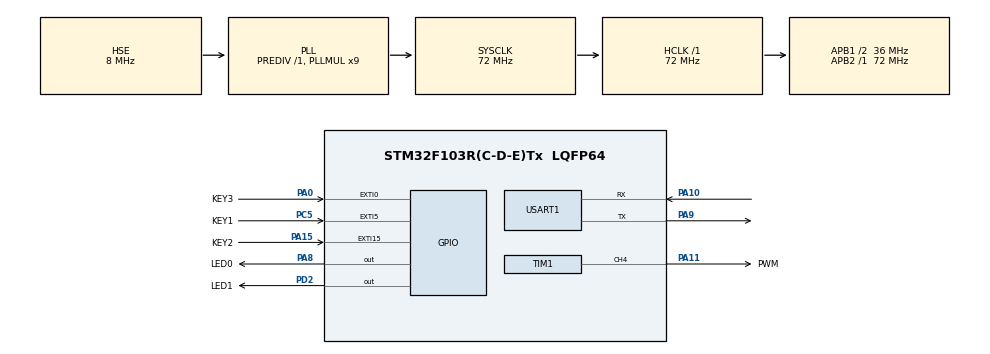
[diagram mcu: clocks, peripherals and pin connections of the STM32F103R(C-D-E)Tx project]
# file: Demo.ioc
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Dma.Request0=USART1_RX
Dma.USART1_RX.0.Direction=DMA_PERIPH_TO_MEMORY
Dma.USART1_RX.0.Instance=DMA1_Channel5
Dma.USART1_RX.0.MemDataAlignment=DMA_MDATAALIGN_BYTE
Dma.USART1_RX.0.MemInc=DMA_MINC_ENABLE
Dma.USART1_RX.0.Mode=DMA_CIRCULAR
Dma.USART1_RX.0.PeriphDataAlignment=DMA_PDATAALIGN_BYTE
Dma.USART1_RX.0.PeriphInc=DMA_PINC_DISABLE
Dma.USART1_RX.0.Priority=DMA_PRIORITY_LOW
Mcu.Family=STM32F1
Mcu.Name=STM32F103R(C-D-E)Tx
Mcu.Package=LQFP64
NVIC.DMA1_Channel5_IRQn=true\:0\:0\:false\:false\:true\:false\:true
NVIC.EXTI0_IRQn=true\:1\:0\:true\:false\:true\:true\:true
NVIC.EXTI15_10_IRQn=true\:1\:0\:true\:false\:true\:true\:true
NVIC.EXTI9_5_IRQn=true\:1\:0\:true\:false\:true\:true\:true
NVIC.PriorityGroup=NVIC_PRIORITYGROUP_2
NVIC.TIM3_IRQn=true\:0\:0\:false\:false\:true\:true\:true
PA0-WKUP.GPIO_Label=KEY3
PA0-WKUP.GPIO_ModeDefaultEXTI=GPIO_MODE_IT_RISING
PA0-WKUP.GPIO_PuPd=GPIO_PULLDOWN
PA0-WKUP.Signal=GPXTI0
PA10.Mode=Asynchronous
PA10.Signal=USART1_RX
PA11.GPIO_Label=PWM
PA11.Signal=S_TIM1_CH4
PA13.Mode=Trace_Asynchronous_SW
PA13.Signal=SYS_JTMS-SWDIO
PA14.Mode=Trace_Asynchronous_SW
PA14.Signal=SYS_JTCK-SWCLK
PA15.GPIO_Label=KEY2
PA15.GPIO_PuPd=GPIO_PULLUP
PA15.Signal=GPXTI15
PA8.GPIO_Label=LED0
PA8.GPIO_Speed=GPIO_SPEED_FREQ_HIGH
PA8.PinState=GPIO_PIN_SET
PA8.Signal=GPIO_Output
PA9.Mode=Asynchronous
PA9.Signal=USART1_TX
PB3.Mode=Trace_Asynchronous_SW
PB3.Signal=SYS_JTDO-TRACESWO
PC14-OSC32_IN.Mode=LSE-External-Oscillator
PC14-OSC32_IN.Signal=RCC_OSC32_IN
PC15-OSC32_OUT.Mode=LSE-External-Oscillator
PC15-OSC32_OUT.Signal=RCC_OSC32_OUT
PC5.GPIO_Label=KEY1
PC5.GPIO_ModeDefaultEXTI=GPIO_MODE_IT_RISING
PC5.GPIO_PuPd=GPIO_PULLUP
PC5.Signal=GPXTI5
PD0-OSC_IN.Mode=HSE-External-Oscillator
PD0-OSC_IN.Signal=RCC_OSC_IN
PD1-OSC_OUT.Mode=HSE-External-Oscillator
PD1-OSC_OUT.Signal=RCC_OSC_OUT
PD2.GPIO_Label=LED1
PD2.GPIO_Speed=GPIO_SPEED_FREQ_HIGH
PD2.PinState=GPIO_PIN_SET
PD2.Signal=GPIO_Output
ProjectManager.HeapSize=0x200
ProjectManager.StackSize=0x400
ProjectManager.TargetToolchain=MDK-ARM V5.27
RCC.AHBFreq_Value=72000000
RCC.APB1CLKDivider=RCC_HCLK_DIV2
RCC.APB1Freq_Value=36000000
RCC.APB1TimFreq_Value=72000000
RCC.APB2Freq_Value=72000000
RCC.APB2TimFreq_Value=72000000
RCC.HCLKFreq_Value=72000000
RCC.PLLMUL=RCC_PLL_MUL9
RCC.PLLSourceVirtual=RCC_PLLSOURCE_HSE
RCC.SYSCLKFreq_VALUE=72000000
RCC.SYSCLKSource=RCC_SYSCLKSOURCE_PLLCLK
RCC.USBFreq_Value=72000000
SH.S_TIM1_CH4.0=TIM1_CH4,PWM Generation4 CH4
TIM1.Channel-PWM\ Generation4\ CH4=TIM_CHANNEL_4
TIM1.Period=40000-1
TIM1.Prescaler=36-1
TIM1.Pulse-PWM\ Generation4\ CH4=1000-1
TIM3.Period=1000-1
TIM3.Prescaler=36000-1
USART1.VirtualMode=VM_ASYNC
VP_TIM1_VS_ClockSourceINT.Mode=Internal
VP_TIM3_VS_ClockSourceINT.Mode=Internal
board=custom

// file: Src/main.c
/* USER CODE BEGIN Header */
/**
  ******************************************************************************
  * @file           : main.c
  * @brief          : Main program body
  ******************************************************************************
  * @attention
  *
  * <h2><center>&copy; Copyright (c) 2020 STMicroelectronics.
  * All rights reserved.</center></h2>
  *
  * This software component is licensed by ST under BSD 3-Clause license,
  * the "License"; You may not use this file except in compliance with the
  * License. You may obtain a copy of the License at:
  *                        opensource.org/licenses/BSD-3-Clause
  *
  ******************************************************************************
  */
/* USER CODE END Header */

#include "main.h"
#include "dma.h"
#include "tim.h"
#include "usart.h"
#include "gpio.h"

/* USER CODE BEGIN Includes */
#define USE_HAL_LEGACY
#if defined(USE_HAL_LEGACY)
#include "Legacy/stm32_hal_legacy.h"
#endif
/* USER CODE END Includes */

/* USER CODE BEGIN PV */
uint8_t KEY_Flag=0;
uint8_t recv_buf[12] = {0};
const uint32_t spwm[1000]= {
    1201,1213,1226,1238,1251,1263,1276,1288,1301,1313,
    1326,1338,1351,1363,1376,1388,1400,1413,1425,1437,
    1450,1462,1474,1486,1498,1511,1523,1535,1547,1559,
    1571,1583,1594,1606,1618,1630,1641,1653,1665,1676,
    1688,1699,1710,1722,1733,1744,1755,1766,1777,1788,
    1799,1810,1821,1831,1842,1853,1863,1873,1884,1894,
    1904,1914,1924,1934,1944,1954,1964,1973,1983,1992,
    2001,2011,2020,2029,2038,2047,2056,2064,2073,2081,
    2090,2098,2106,2115,2123,2130,2138,2146,2154,2161,
    2169,2176,2183,2190,2197,2204,2211,2217,2224,2230,
    2237,2243,2249,2255,2261,2266,2272,2277,2283,2288,
    2293,2298,2303,2308,2313,2317,2321,2326,2330,2334,
    2338,2342,2345,2349,2352,2355,2359,2362,2365,2367,
    2370,2372,2375,2377,2379,2381,2383,2385,2386,2388,
    2389,2390,2392,2393,2393,2394,2395,2395,2395,2395,
    2395,2395,2395,2395,2394,2394,2393,2392,2391,2390,
    2389,2387,2386,2384,2382,2380,2378,2376,2374,2371,
    2369,2366,2363,2360,2357,2354,2351,2347,2343,2340,
    2336,2332,2328,2324,2319,2315,2310,2306,2301,2296,
    2291,2285,2280,2275,2269,2263,2258,2252,2246,2240,
    2233,2227,2221,2214,2207,2201,2194,2187,2179,2172,
    2165,2157,2150,2142,2134,2127,2119,2110,2102,2094,
    2086,2077,2069,2060,2051,2042,2033,2024,2015,2006,
    1997,1987,1978,1968,1959,1949,1939,1929,1919,1909,
    1899,1889,1879,1868,1858,1847,1837,1826,1815,1805,
    1794,1783,1772,1761,1750,1739,1727,1716,1705,1693,
    1682,1670,1659,1647,1636,1624,1612,1600,1589,1577,
    1565,1553,1541,1529,1517,1505,1492,1480,1468,1456,
    1444,1431,1419,1407,1394,1382,1369,1357,1345,1332,
    1320,1307,1295,1282,1270,1257,1245,1232,1219,1207,
    1194,1182,1169,1157,1144,1132,1119,1107,1094,1082,
    1069,1057,1044,1032,1019,1007,995,982,970,958,
    945,933,921,909,897,884,872,860,848,836,
    824,812,801,789,777,765,754,742,730,719,
    707,696,685,673,662,651,640,629,618,607,
    596,585,574,564,553,542,532,522,511,501,
    491,481,471,461,451,441,431,422,412,403,
    394,384,375,366,357,348,339,331,322,314,
    305,297,289,280,272,265,257,249,241,234,
    226,219,212,205,198,191,184,178,171,165,

    158,152,146,140,134,129,123,118,112,107,
    102,97,92,87,82,78,74,69,65,61,
    57,53,50,46,43,40,36,33,30,28,
    25,23,20,18,16,14,12,10,9,7,
    6,5,3,2,2,1,0,0,0,0,
    0,0,0,0,1,1,2,3,4,5,
    6,8,9,11,13,15,17,19,21,24,
    26,29,32,35,38,41,44,48,52,55,
    59,63,67,71,76,80,85,89,94,99,
    104,110,115,120,126,132,137,143,149,155,
    162,168,174,181,188,194,201,208,216,223,
    230,238,245,253,261,268,276,285,293,301,
    309,318,326,335,344,353,362,371,380,389,
    398,408,417,427,436,446,456,466,476,486,
    496,506,516,527,537,548,558,569,580,590,
    601,612,623,634,645,656,668,679,690,702,
    713,725,736,748,759,771,783,795,806,818,
    830,842,854,866,878,890,903,915,927,939,
    951,964,976,988,1001,1013,1026,1038,1050,1063,
    1075,1088,1100,1113,1125,1138,1150,1163,1176,1188,

    1201,1213,1226,1238,1251,1263,1276,1288,1301,1313,
    1326,1338,1351,1363,1376,1388,1400,1413,1425,1437,
    1450,1462,1474,1486,1498,1511,1523,1535,1547,1559,
    1571,1583,1594,1606,1618,1630,1641,1653,1665,1676,
    1688,1699,1710,1722,1733,1744,1755,1766,1777,1788,
    1799,1810,1821,1831,1842,1853,1863,1873,1884,1894,
    1904,1914,1924,1934,1944,1954,1964,1973,1983,1992,
    2001,2011,2020,2029,2038,2047,2056,2064,2073,2081,
    2090,2098,2106,2115,2123,2130,2138,2146,2154,2161,
    2169,2176,2183,2190,2197,2204,2211,2217,2224,2230,
    2237,2243,2249,2255,2261,2266,2272,2277,2283,2288,
    2293,2298,2303,2308,2313,2317,2321,2326,2330,2334,
    2338,2342,2345,2349,2352,2355,2359,2362,2365,2367,
    2370,2372,2375,2377,2379,2381,2383,2385,2386,2388,
    2389,2390,2392,2393,2393,2394,2395,2395,2395,2395,
    2395,2395,2395,2395,2394,2394,2393,2392,2391,2390,
    2389,2387,2386,2384,2382,2380,2378,2376,2374,2371,
    2369,2366,2363,2360,2357,2354,2351,2347,2343,2340,
    2336,2332,2328,2324,2319,2315,2310,2306,2301,2296,
    2291,2285,2280,2275,2269,2263,2258,2252,2246,2240,
    2233,2227,2221,2214,2207,2201,2194,2187,2179,2172,
    2165,2157,2150,2142,2134,2127,2119,2110,2102,2094,
    2086,2077,2069,2060,2051,2042,2033,2024,2015,2006,
    1997,1987,1978,1968,1959,1949,1939,1929,1919,1909,
    1899,1889,1879,1868,1858,1847,1837,1826,1815,1805,
    1794,1783,1772,1761,1750,1739,1727,1716,1705,1693,
    1682,1670,1659,1647,1636,1624,1612,1600,1589,1577,
    1565,1553,1541,1529,1517,1505,1492,1480,1468,1456,
    1444,1431,1419,1407,1394,1382,1369,1357,1345,1332,
    1320,1307,1295,1282,1270,1257,1245,1232,1219,1207,
    1194,1182,1169,1157,1144,1132,1119,1107,1094,1082,
    1069,1057,1044,1032,1019,1007,995,982,970,958,
    945,933,921,909,897,884,872,860,848,836,
    824,812,801,789,777,765,754,742,730,719,
    707,696,685,673,662,651,640,629,618,607,
    596,585,574,564,553,542,532,522,511,501,
    491,481,471,461,451,441,431,422,412,403,
    394,384,375,366,357,348,339,331,322,314,
    305,297,289,280,272,265,257,249,241,234,
    226,219,212,205,198,191,184,178,171,165
};
/* USER CODE END PV */

void SystemClock_Config(void);

int main(void)
{
    /* USER CODE BEGIN 1 */
    uint16_t pluse = 500;
    uint16_t i = 0;
    /* USER CODE END 1 */

    /* MCU Configuration--------------------------------------------------------*/

    /* Reset of all peripherals, Initializes the Flash interface and the Systick. */
    HAL_Init();

    /* Configure the system clock */
    SystemClock_Config();

    /* Initialize all configured peripherals */
    MX_GPIO_Init();
    MX_DMA_Init();
    MX_USART1_UART_Init();
    MX_TIM1_Init();
    MX_TIM3_Init();
    /* USER CODE BEGIN 2 */
    HAL_TIM_PWM_Start(&htim1,TIM_CHANNEL_4);//产生PWM，舵机转动
    HAL_TIM_Base_Start_IT(&htim3);//使能定时器3，频率2Hz
    HAL_UART_Receive_DMA(&huart1, recv_buf, 12);  //使能DMA接收
    printf("Hello, i am %s\r\n", "mculover666");
    printf("Test int: i = %d\r\n", 100);
    printf("Test float: i = %f\r\n", 1.234);
    printf("Test hex: i = 0x%2x\r\n",100);
    /* USER CODE END 2 */

    /* Infinite loop */
    while (1)
    {

        /* USER CODE BEGIN 3 */
        /*判断按键是否按下进行相应操作*/
        switch( KEY_Flag ) {
        case 1:
            /* 按键1按下 */
            //
            pluse += 200;
            HAL_GPIO_TogglePin(LED1_GPIO_Port, LED1_Pin);
            KEY_Flag = 0;
            break;
        case 2:
            /* 按键2按下 */
            //
            pluse -= 200;
            HAL_GPIO_TogglePin(LED1_GPIO_Port, LED1_Pin);
            KEY_Flag = 0;
            break;
        case 3:
            /* 按键13按下 */
            //
            pluse = 5000;
            HAL_GPIO_TogglePin(LED1_GPIO_Port, LED1_Pin);
            KEY_Flag = 0;
            break;
        default:
            break;
        }
        /*执行操作*/
        printf("DATA:%d,%d,%d\n",spwm[i],spwm[i+399],spwm[i+199]);
        if(i++ >= 600)  //一周期采样600个点
            i = 0;
        //设置PWM占空比
        if(pluse <= 5000&&pluse >= 500) {
            HAL_Delay(200);//延时等待舵机稳定
            __HAL_TIM_SetCompare(&htim1, TIM_CHANNEL_4, (uint16_t)pluse);
        }
    }
    /* USER CODE END 3 */
}

void SystemClock_Config(void)
{
    RCC_OscInitTypeDef RCC_OscInitStruct = {0};
    RCC_ClkInitTypeDef RCC_ClkInitStruct = {0};

    /** Initializes the CPU, AHB and APB busses clocks
    */
    RCC_OscInitStruct.OscillatorType = RCC_OSCILLATORTYPE_HSE;
    RCC_OscInitStruct.HSEState = RCC_HSE_ON;
    RCC_OscInitStruct.HSEPredivValue = RCC_HSE_PREDIV_DIV1;
    RCC_OscInitStruct.HSIState = RCC_HSI_ON;
    RCC_OscInitStruct.PLL.PLLState = RCC_PLL_ON;
    RCC_OscInitStruct.PLL.PLLSource = RCC_PLLSOURCE_HSE;
    RCC_OscInitStruct.PLL.PLLMUL = RCC_PLL_MUL9;
    if (HAL_RCC_OscConfig(&RCC_OscInitStruct) != HAL_OK)
    {
        Error_Handler();
    }
    /** Initializes the CPU, AHB and APB busses clocks
    */
    RCC_ClkInitStruct.ClockType = RCC_CLOCKTYPE_HCLK|RCC_CLOCKTYPE_SYSCLK
                                  |RCC_CLOCKTYPE_PCLK1|RCC_CLOCKTYPE_PCLK2;
    RCC_ClkInitStruct.SYSCLKSource = RCC_SYSCLKSOURCE_PLLCLK;
    RCC_ClkInitStruct.AHBCLKDivider = RCC_SYSCLK_DIV1;
    RCC_ClkInitStruct.APB1CLKDivider = RCC_HCLK_DIV2;
    RCC_ClkInitStruct.APB2CLKDivider = RCC_HCLK_DIV1;

    if (HAL_RCC_ClockConfig(&RCC_ClkInitStruct, FLASH_LATENCY_2) != HAL_OK)
    {
        Error_Handler();
    }
}

/* USER CODE BEGIN 4 */
void HAL_UART_RxCpltCallback(UART_HandleTypeDef *huart)
{
    //将接收到的数据再发送
    HAL_UART_Transmit(&huart1,recv_buf,sizeof(recv_buf), 0xFFFF);
}
/* USER CODE END 4 */

void Error_Handler(void)
{
}

/************************ (C) COPYRIGHT STMicroelectronics *****END OF FILE****/
